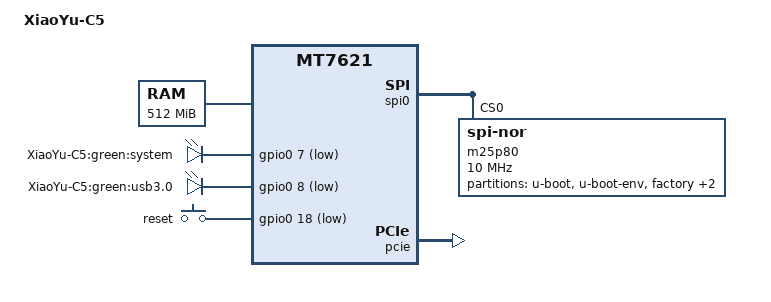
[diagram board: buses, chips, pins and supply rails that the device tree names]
/dts-v1/;

#include "mt7621.dtsi"

#include <dt-bindings/gpio/gpio.h>
#include <dt-bindings/input/input.h>

/ {
	compatible = "XiaoYu-C5", "mediatek,mt7621-soc";
	model = "XiaoYu-C5";

	aliases {
		led-boot = &led_system;
		led-failsafe = &led_system;
		led-running = &led_system;
		led-upgrade = &led_system;
	};

	memory@0 {
		device_type = "memory";
		reg = <0x0 0x1c000000>, <0x20000000 0x4000000>;
	};

	chosen {
		bootargs = "console=ttyS0,115200";
	};

	gpio-leds {
		compatible = "gpio-leds";

		led_system:system {
			label = "XiaoYu-C5:green:system";
			gpios = <&gpio0 7 GPIO_ACTIVE_LOW>;
		};

		work {
			label = "XiaoYu-C5:green:usb3.0";
			gpios = <&gpio0 8 GPIO_ACTIVE_LOW>;
			trigger-sources = <&xhci_ehci_port1>, <&ehci_port2>;
			linux,default-trigger = "usbport";
		};
	};

	gpio-keys-polled {
		compatible = "gpio-keys-polled";
		poll-interval = <20>;

		reset {
			label = "reset";
			gpios = <&gpio0 18 GPIO_ACTIVE_LOW>;
			linux,code = <KEY_RESTART>;
		};
	};

};

&spi0 {
	status = "okay";

	m25p80@0 {
		compatible = "jedec,spi-nor";
		reg = <0>;
		spi-max-frequency = <10000000>;
		m25p,chunked-io = <32>;

		partitions {
			compatible = "fixed-partitions";
			#address-cells = <1>;
			#size-cells = <1>;

			partition@0 {
				label = "u-boot";
				reg = <0x0 0x30000>;
				read-only;
			};

			partition@30000 {
				label = "u-boot-env";
				reg = <0x30000 0x10000>;
				read-only;
			};

			factory: partition@40000 {
				label = "factory";
				reg = <0x40000 0x10000>;
				read-only;
			};

			partition@50000 {
				compatible = "denx,uimage";
				label = "firmware";
				reg = <0x50000 0x1fa0000>;
			};
			partition@1ff0000 {
				label = "mib0";
				reg = <0x1ff0000 0x10000>;
			};
		};
	};
};

&pcie {
	status = "okay";
};

&ethernet {
	mtd-mac-address = <&factory 0x4>;
};

&pinctrl {
	state_default: pinctrl0 {
		gpio {
			ralink,group = "i2c", "jtag" , "uart2", "uart3";
			ralink,function = "gpio";
		};
	};
};
